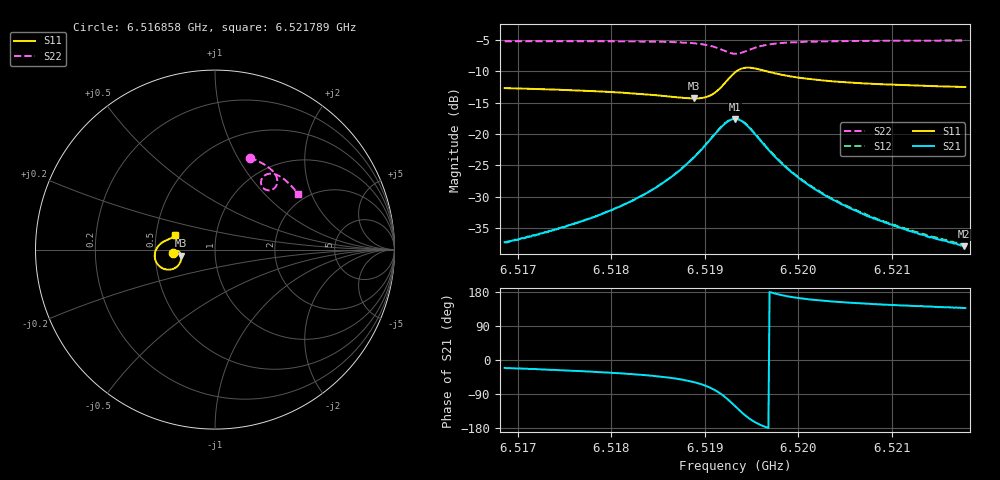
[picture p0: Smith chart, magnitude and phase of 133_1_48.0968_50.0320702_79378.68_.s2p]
#  HZ  S  RI  R  50.00
! Rohde & Schwarz Vector Network Analyzer
! Rohde-Schwarz,ZNB20-2Port,1311601062101988,3.16
! Created: UTC 12/23/2023, 3:47:59 AM
! freq[Hz]  re:S11  im:S11  re:S21  im:S21  re:S12  im:S12  re:S22  im:S22
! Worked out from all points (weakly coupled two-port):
!   401 points, 6.516858 GHz to 6.521789 GHz, reference 50 ohm
!   highest |S21| = -17.59 dB at 6.519324 GHz (marker M1); lowest = -37.9 dB at 6.521777 GHz (marker M2)
!   lowest |S11| = -14.3 dB at 6.51888 GHz (marker M3), VSWR 1.48, Z = 34 - j2.33 ohm
!   |S11| at or under -10 dB: start of sweep to 6.51934 GHz; 6.519662 GHz to end of sweep
!   |S22| runs from -7.2 to -5.1 dB; largest |S21 - S12| = 0.004
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6.5168582e9  -0.2314 -0.0197  0.0129 -0.00487  0.0129 -0.00447  0.1931 0.5128
6.5172034e9  -0.2279 -0.0143  0.0144 -0.00643  0.0146 -0.00607  0.2188 0.5028
6.5176841e9  -0.2215 -0.00836  0.0176 -0.01  0.0179 -0.00935  0.2543 0.4859
6.5181772e9  -0.2122 -0.00589  0.0228 -0.017  0.0233 -0.0162  0.2915 0.4634
6.51851e9  -0.2026 -0.00977  0.0282 -0.0268  0.0292 -0.026  0.3172 0.4421
6.5187073e9  -0.1952 -0.0177  0.0321 -0.0378  0.0335 -0.037  0.3323 0.424
6.5188798e9  -0.1892 -0.033  0.0341 -0.0549  0.0361 -0.0542  0.3438 0.4019
6.5189908e9  -0.1883 -0.0507  0.0317 -0.0726  0.0341 -0.0719  0.3472 0.3817
6.5190894e9  -0.1953 -0.0738  0.0218 -0.0936  0.0248 -0.0936  0.3431 0.3596
6.519225e9  -0.2362 -0.1082  -0.0202 -0.1209  -0.0165 -0.1225  0.3121 0.3318
6.5193236e9  -0.2914 -0.1048  -0.0694 -0.1123  -0.0666 -0.1152  0.2744 0.3384
6.5193852e9  -0.32 -0.0814  -0.0924 -0.0889  -0.0905 -0.0922  0.2591 0.358
6.5194469e9  -0.334 -0.0508  -0.1014 -0.0609  -0.1003 -0.0643  0.2566 0.3809
6.5195455e9  -0.3319 -0.00883  -0.095 -0.0252  -0.0952 -0.0283  0.2703 0.4075
6.5196564e9  -0.3163 0.0198  -0.0786 -0.00355  -0.0793 -0.00594  0.2925 0.4208
6.5198906e9  -0.2868 0.0442  -0.0514 0.0111  -0.0522 0.00969  0.3309 0.4209
6.5201495e9  -0.2671 0.0537  -0.0352 0.0133  -0.0359 0.0125  0.3596 0.409
6.5205317e9  -0.2505 0.0611  -0.0229 0.0125  -0.0237 0.0119  0.3904 0.3878
6.5209754e9  -0.2383 0.0676  -0.0158 0.0108  -0.0165 0.0105  0.4185 0.3617
6.5213822e9  -0.2302 0.0733  -0.0119 0.00956  -0.0123 0.00949  0.4408 0.3371
6.5217767e9  -0.2236 0.0787  -0.00939 0.00871  -0.00993 0.00866  0.46 0.3127
6.521789e9  -0.2234 0.0787  -0.00938 0.00876  -0.00991 0.00852  0.4605 0.312
